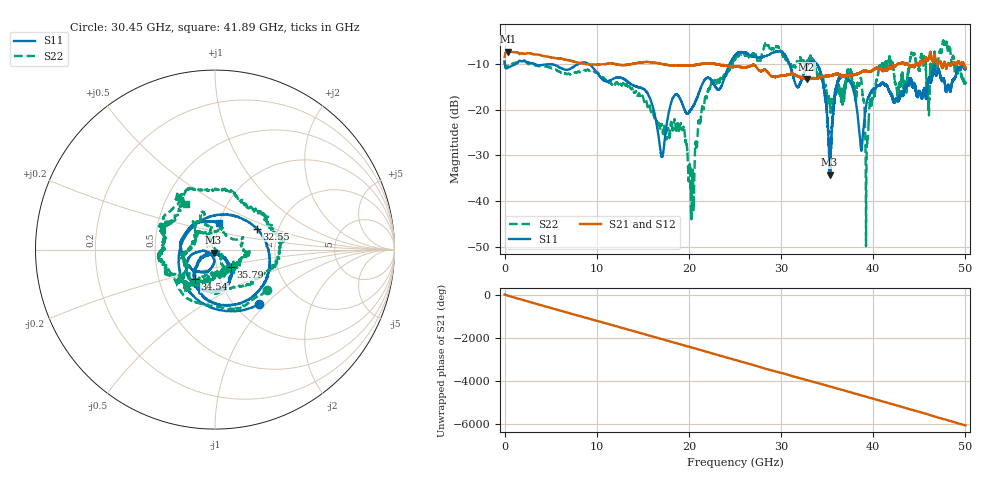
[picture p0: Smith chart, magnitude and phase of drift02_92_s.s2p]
!Created with skrf (http://scikit-rf.org).
# Hz S RI R 50.0
!freq ReS11 ImS11 ReS21 ImS21 ReS12 ImS12 ReS22 ImS22
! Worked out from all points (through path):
!   10001 points, 300 kHz to 50 GHz, reference 50 ohm
!   highest |S21| = -7.32 dB at 335.3 MHz (marker M1); lowest = -13.4 dB at 32.76 GHz (marker M2)
!   group delay of S21, straight-line fit = 335 ps
!   lowest |S11| = -34.3 dB at 35.26 GHz (marker M3), VSWR 1.04, Z = 49.2 - j1.75 ohm
!   |S11| at or under -10 dB: 3.224 GHz to 8 GHz (4.776 GHz wide, 85.1 % of centre); 9.106 GHz to 24.42 GHz (15.31 GHz wide, 91.3 % of centre); 33.85 GHz to 49.62 GHz (15.77 GHz wide, 37.8 % of centre) (the widest 3 of 13)
!   |S22| runs from -49.9 to -4.9 dB; largest |S21 - S12| = 0.014
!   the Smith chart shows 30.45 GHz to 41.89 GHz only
!   S11 on the Smith chart (normalised r, x): 30.45 GHz: 1.28, -0.92; 32.55 GHz: 1.55, +0.39; 34.54 GHz: 0.76, -0.26; 35.79 GHz: 1.16, -0.23; 41.89 GHz: 1.00, +0.31
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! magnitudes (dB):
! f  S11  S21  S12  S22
! 300 kHz  -9.4  -8.5  -8.4  -9.5
! 335.3 MHz  -10.9  -7.3  -7.3  -10.5
! 8.335 GHz  -9.7  -9.9  -9.9  -11.6
! 16.67 GHz  -25.4  -9.9  -9.9  -22.7
! 19.31 GHz  -18.9  -10.4  -10.3  -24.5
! 20.37 GHz  -19.6  -10.4  -10.3  -34.1
! 21.94 GHz  -13.1  -9.9  -9.9  -17.2
! 25 GHz  -8.1  -10.6  -10.6  -9.1
! 30.45 GHz  -8.2  -12.5  -12.4  -8.8
! 32.55 GHz  -11.7  -13.1  -13.3  -9.8
! 32.76 GHz  -10.8  -13.4  -13.4  -9.6
! 33.34 GHz  -9.5  -13.1  -13.2  -8.9
! 34.54 GHz  -14.0  -12.7  -12.7  -12.7
! 35.26 GHz  -34.3  -12.6  -12.6  -18.1
! 35.79 GHz  -17.6  -12.2  -12.3  -17.0
! 37.31 GHz  -13.4  -12.5  -12.6  -11.7
! 38.55 GHz  -26.1  -12.0  -12.0  -14.0
! 39.32 GHz  -18.2  -11.6  -11.6  -28.0
! 41.67 GHz  -15.6  -10.9  -11.0  -9.8
! 41.89 GHz  -16.4  -10.9  -10.9  -10.4
! 47.76 GHz  -14.3  -9.7  -9.7  -5.6
! 50 GHz  -11.1  -10.8  -10.8  -13.8
